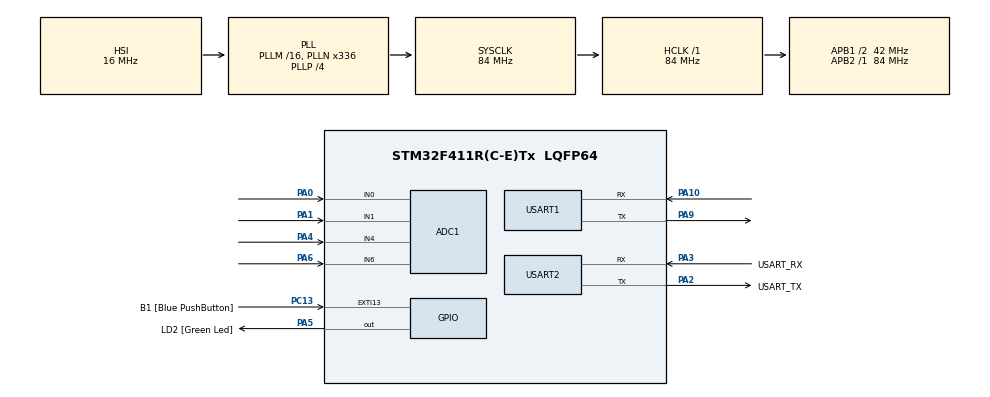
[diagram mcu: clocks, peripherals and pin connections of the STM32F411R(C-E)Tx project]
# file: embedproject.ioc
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ADC1.Channel-0\#ChannelRegularConversion=ADC_CHANNEL_0
ADC1.Channel-1\#ChannelRegularConversion=ADC_CHANNEL_1
ADC1.Channel-2\#ChannelRegularConversion=ADC_CHANNEL_4
ADC1.Channel-3\#ChannelRegularConversion=ADC_CHANNEL_6
ADC1.Channel-4\#ChannelInjectedConversion=ADC_CHANNEL_0
ADC1.InjNumberOfConversion=1
ADC1.InjectedOffset-4\#ChannelInjectedConversion=0
ADC1.InjectedRank-4\#ChannelInjectedConversion=1
ADC1.NbrOfConversion=4
ADC1.NbrOfConversionFlag=1
ADC1.Rank-0\#ChannelRegularConversion=1
ADC1.Rank-1\#ChannelRegularConversion=2
ADC1.Rank-2\#ChannelRegularConversion=3
ADC1.Rank-3\#ChannelRegularConversion=4
ADC1.SamplingTime-0\#ChannelRegularConversion=ADC_SAMPLETIME_3CYCLES
ADC1.SamplingTime-1\#ChannelRegularConversion=ADC_SAMPLETIME_3CYCLES
ADC1.SamplingTime-2\#ChannelRegularConversion=ADC_SAMPLETIME_3CYCLES
ADC1.SamplingTime-3\#ChannelRegularConversion=ADC_SAMPLETIME_3CYCLES
ADC1.SamplingTime-4\#ChannelInjectedConversion=ADC_SAMPLETIME_3CYCLES
ADC1.master=1
Dma.ADC1.0.Direction=DMA_PERIPH_TO_MEMORY
Dma.ADC1.0.FIFOMode=DMA_FIFOMODE_DISABLE
Dma.ADC1.0.Instance=DMA2_Stream0
Dma.ADC1.0.MemDataAlignment=DMA_MDATAALIGN_HALFWORD
Dma.ADC1.0.MemInc=DMA_MINC_ENABLE
Dma.ADC1.0.Mode=DMA_NORMAL
Dma.ADC1.0.PeriphDataAlignment=DMA_PDATAALIGN_HALFWORD
Dma.ADC1.0.PeriphInc=DMA_PINC_DISABLE
Dma.ADC1.0.Priority=DMA_PRIORITY_MEDIUM
Dma.Request0=ADC1
Mcu.Family=STM32F4
Mcu.Name=STM32F411R(C-E)Tx
Mcu.Package=LQFP64
NVIC.DMA2_Stream0_IRQn=true\:0\:0\:false\:false\:true\:false\:true\:true
NVIC.PriorityGroup=NVIC_PRIORITYGROUP_4
PA0-WKUP.Signal=ADCx_IN0
PA1.Signal=ADCx_IN1
PA10.Mode=Asynchronous
PA10.Signal=USART1_RX
PA13.GPIO_Label=TMS
PA13.Mode=Serial_Wire
PA13.Signal=SYS_JTMS-SWDIO
PA14.GPIO_Label=TCK
PA14.Mode=Serial_Wire
PA14.Signal=SYS_JTCK-SWCLK
PA2.GPIO_Label=USART_TX
PA2.Mode=Asynchronous
PA2.Signal=USART2_TX
PA3.GPIO_Label=USART_RX
PA3.Mode=Asynchronous
PA3.Signal=USART2_RX
PA4.Signal=ADCx_IN4
PA5.GPIO_Label=LD2 [Green Led]
PA5.Signal=GPIO_Output
PA6.Signal=ADCx_IN6
PA9.Mode=Asynchronous
PA9.Signal=USART1_TX
PB3.GPIO_Label=SWO
PB3.Signal=SYS_JTDO-SWO
PC13-ANTI_TAMP.GPIO_Label=B1 [Blue PushButton]
PC13-ANTI_TAMP.GPIO_ModeDefaultEXTI=GPIO_MODE_IT_FALLING
PC13-ANTI_TAMP.Signal=GPXTI13
PC14-OSC32_IN.Mode=LSE-External-Oscillator
PC14-OSC32_IN.Signal=RCC_OSC32_IN
PC15-OSC32_OUT.Mode=LSE-External-Oscillator
PC15-OSC32_OUT.Signal=RCC_OSC32_OUT
PH0\ -\ OSC_IN.Mode=HSE-External-Clock-Source
PH0\ -\ OSC_IN.Signal=RCC_OSC_IN
PH1\ -\ OSC_OUT.Mode=HSE-External-Clock-Source
PH1\ -\ OSC_OUT.Signal=RCC_OSC_OUT
ProjectManager.HeapSize=0x200
ProjectManager.StackSize=0x400
ProjectManager.TargetToolchain=STM32CubeIDE
RCC.48MHZClocksFreq_Value=84000000
RCC.AHBFreq_Value=84000000
RCC.APB1CLKDivider=RCC_HCLK_DIV2
RCC.APB1Freq_Value=42000000
RCC.APB1TimFreq_Value=84000000
RCC.APB2Freq_Value=84000000
RCC.APB2TimFreq_Value=84000000
RCC.CortexFreq_Value=84000000
RCC.FLatency-AdvancedSettings=FLASH_LATENCY_2
RCC.HCLKFreq_Value=84000000
RCC.HSE_VALUE=8000000
RCC.HSI_VALUE=16000000
RCC.PLLN=336
RCC.PLLP=RCC_PLLP_DIV4
RCC.SYSCLKFreq_VALUE=84000000
RCC.SYSCLKSource=RCC_SYSCLKSOURCE_PLLCLK
RCC.VCOOutputFreq_Value=336000000
SH.ADCx_IN0.0=ADC1_IN0,IN0
SH.ADCx_IN1.0=ADC1_IN1,IN1
SH.ADCx_IN4.0=ADC1_IN4,IN4
SH.ADCx_IN6.0=ADC1_IN6,IN6
USART1.VirtualMode=VM_ASYNC
USART2.VirtualMode=VM_ASYNC
board=NUCLEO-F411RE

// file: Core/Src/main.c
/* USER CODE BEGIN Header */
/**
  ******************************************************************************
  * @file           : main.c
  * @brief          : Main program body
  ******************************************************************************
  * @attention
  *
  * Copyright (c) 2024 STMicroelectronics.
  * All rights reserved.
  *
  * This software is licensed under terms that can be found in the LICENSE file
  * in the root directory of this software component.
  * If no LICENSE file comes with this software, it is provided AS-IS.
  *
  ******************************************************************************
  */
/* USER CODE END Header */
#include "main.h"

ADC_HandleTypeDef hadc1;
DMA_HandleTypeDef hdma_adc1;

UART_HandleTypeDef huart1;
UART_HandleTypeDef huart2;

/* USER CODE BEGIN PV */
volatile uint16_t resultDMA[4];
const int channelCount = sizeof(resultDMA) / sizeof(resultDMA[0]);
volatile int conversionComplete = 0;
/* USER CODE END PV */

void SystemClock_Config(void);
static void MX_GPIO_Init(void);
static void MX_DMA_Init(void);
static void MX_USART2_UART_Init(void);
static void MX_ADC1_Init(void);
static void MX_USART1_UART_Init(void);

/* USER CODE BEGIN 0 */
void send_to_nodeMCU(char buf[256]) {
	char acknowledge[1];

	int string_length = strlen(buf);
	for(int i = 0;i < string_length;i++) {
		// Transmit character by character
		HAL_UART_Transmit(&huart1, buf + i, 1, 1000);
		HAL_UART_Receive(&huart1, acknowledge ,1, 1000);

		char gg[256];
		sprintf(gg, "sent %d : %c\r\n", i, acknowledge[0]);
		HAL_UART_Transmit(&huart2, gg, strlen(gg), 1000);

		// Check the acknowledge for echo, If the receive if not the one sent, send again.
		if(acknowledge[0] != buf[i]) {
			--i;
		}
	}
}
/* USER CODE END 0 */

int main(void)
{

  /* MCU Configuration--------------------------------------------------------*/

  /* Reset of all peripherals, Initializes the Flash interface and the Systick. */
  HAL_Init();

  /* Configure the system clock */
  SystemClock_Config();

  /* Initialize all configured peripherals */
  MX_GPIO_Init();
  MX_DMA_Init();
  MX_USART2_UART_Init();
  MX_ADC1_Init();
  MX_USART1_UART_Init();
  /* USER CODE BEGIN 2 */
  char buf[256];
  double maxLight = 4000;
  double minLight = 0;
  double maxHumid = 1350;
  double minHumid = 0;
  double maxVibrate = 1000;
  double minVibrate = 0;
  int dutycycleLight = 0;
  int dutycycleHumid = 0;
  int dutycycleVibrate = 0;
  double cLight;
  double pLight = maxLight - minLight;
  double cHumid;
  double pHumid = maxHumid -  minHumid;
  double cVibrate;
  double pVibrate = maxVibrate - minVibrate;
  /* This is for callibration, report max/min
  int maxLightSensor = 0;
  int minLightSensor = 10000000;
  int maxHumidSensor = 0;
  int minHumidSensor = 10000000;
  */
  /* USER CODE END 2 */

  /* Infinite loop */
  /* USER CODE BEGIN WHILE */
  while (1)
  {
	  // Start DMA
	  HAL_ADC_Start_DMA(&hadc1, (uint32_t*) resultDMA, channelCount);
	  // Wait for sensor read ok.
	  while (conversionComplete == 0) {

	  }
	  // Convert value into %
	  conversionComplete = 0;
	  cLight = maxLight - resultDMA[0];
	  dutycycleLight = (1 - cLight/pLight)*100;
	  cHumid = maxHumid - resultDMA[1];
	  dutycycleHumid = (1 - cHumid/pHumid)*100;
	  cVibrate = maxVibrate - resultDMA[2];
	  dutycycleVibrate = (1 - cVibrate/pVibrate) * 100;
	  sprintf(buf, "light = %d %c,humid = %d %c, Vibration = %d \r\n" , dutycycleLight, '%',dutycycleHumid, '%', dutycycleVibrate);
	  HAL_UART_Transmit(&huart2, buf, strlen(buf), 1000);
	  // Transmit to nodemcu.
	  sprintf(buf,"%d %d %d\n",dutycycleLight,dutycycleHumid,dutycycleVibrate);
	  send_to_nodeMCU(buf);

	  HAL_Delay(2000);
    /* USER CODE END WHILE */

  }
}

void SystemClock_Config(void)
{
  RCC_OscInitTypeDef RCC_OscInitStruct = {0};
  RCC_ClkInitTypeDef RCC_ClkInitStruct = {0};

  /** Configure the main internal regulator output voltage
  */
  __HAL_RCC_PWR_CLK_ENABLE();
  __HAL_PWR_VOLTAGESCALING_CONFIG(PWR_REGULATOR_VOLTAGE_SCALE1);

  /** Initializes the RCC Oscillators according to the specified parameters
  * in the RCC_OscInitTypeDef structure.
  */
  RCC_OscInitStruct.OscillatorType = RCC_OSCILLATORTYPE_HSI;
  RCC_OscInitStruct.HSIState = RCC_HSI_ON;
  RCC_OscInitStruct.HSICalibrationValue = RCC_HSICALIBRATION_DEFAULT;
  RCC_OscInitStruct.PLL.PLLState = RCC_PLL_ON;
  RCC_OscInitStruct.PLL.PLLSource = RCC_PLLSOURCE_HSI;
  RCC_OscInitStruct.PLL.PLLM = 16;
  RCC_OscInitStruct.PLL.PLLN = 336;
  RCC_OscInitStruct.PLL.PLLP = RCC_PLLP_DIV4;
  RCC_OscInitStruct.PLL.PLLQ = 4;
  if (HAL_RCC_OscConfig(&RCC_OscInitStruct) != HAL_OK)
  {
    Error_Handler();
  }

  /** Initializes the CPU, AHB and APB buses clocks
  */
  RCC_ClkInitStruct.ClockType = RCC_CLOCKTYPE_HCLK|RCC_CLOCKTYPE_SYSCLK
                              |RCC_CLOCKTYPE_PCLK1|RCC_CLOCKTYPE_PCLK2;
  RCC_ClkInitStruct.SYSCLKSource = RCC_SYSCLKSOURCE_PLLCLK;
  RCC_ClkInitStruct.AHBCLKDivider = RCC_SYSCLK_DIV1;
  RCC_ClkInitStruct.APB1CLKDivider = RCC_HCLK_DIV2;
  RCC_ClkInitStruct.APB2CLKDivider = RCC_HCLK_DIV1;

  if (HAL_RCC_ClockConfig(&RCC_ClkInitStruct, FLASH_LATENCY_2) != HAL_OK)
  {
    Error_Handler();
  }
}

static void MX_ADC1_Init(void)
{

  ADC_ChannelConfTypeDef sConfig = {0};
  ADC_InjectionConfTypeDef sConfigInjected = {0};

  /** Configure the global features of the ADC (Clock, Resolution, Data Alignment and number of conversion)
  */
  hadc1.Instance = ADC1;
  hadc1.Init.ClockPrescaler = ADC_CLOCK_SYNC_PCLK_DIV4;
  hadc1.Init.Resolution = ADC_RESOLUTION_12B;
  hadc1.Init.ScanConvMode = ENABLE;
  hadc1.Init.ContinuousConvMode = DISABLE;
  hadc1.Init.DiscontinuousConvMode = DISABLE;
  hadc1.Init.ExternalTrigConvEdge = ADC_EXTERNALTRIGCONVEDGE_NONE;
  hadc1.Init.ExternalTrigConv = ADC_SOFTWARE_START;
  hadc1.Init.DataAlign = ADC_DATAALIGN_RIGHT;
  hadc1.Init.NbrOfConversion = 4;
  hadc1.Init.DMAContinuousRequests = DISABLE;
  hadc1.Init.EOCSelection = ADC_EOC_SINGLE_CONV;
  if (HAL_ADC_Init(&hadc1) != HAL_OK)
  {
    Error_Handler();
  }

  /** Configure for the selected ADC regular channel its corresponding rank in the sequencer and its sample time.
  */
  sConfig.Channel = ADC_CHANNEL_0;
  sConfig.Rank = 1;
  sConfig.SamplingTime = ADC_SAMPLETIME_3CYCLES;
  if (HAL_ADC_ConfigChannel(&hadc1, &sConfig) != HAL_OK)
  {
    Error_Handler();
  }

  /** Configure for the selected ADC regular channel its corresponding rank in the sequencer and its sample time.
  */
  sConfig.Channel = ADC_CHANNEL_1;
  sConfig.Rank = 2;
  if (HAL_ADC_ConfigChannel(&hadc1, &sConfig) != HAL_OK)
  {
    Error_Handler();
  }

  /** Configure for the selected ADC regular channel its corresponding rank in the sequencer and its sample time.
  */
  sConfig.Channel = ADC_CHANNEL_4;
  sConfig.Rank = 3;
  if (HAL_ADC_ConfigChannel(&hadc1, &sConfig) != HAL_OK)
  {
    Error_Handler();
  }

  /** Configure for the selected ADC regular channel its corresponding rank in the sequencer and its sample time.
  */
  sConfig.Channel = ADC_CHANNEL_6;
  sConfig.Rank = 4;
  if (HAL_ADC_ConfigChannel(&hadc1, &sConfig) != HAL_OK)
  {
    Error_Handler();
  }

  /** Configures for the selected ADC injected channel its corresponding rank in the sequencer and its sample time
  */
  sConfigInjected.InjectedChannel = ADC_CHANNEL_0;
  sConfigInjected.InjectedRank = 1;
  sConfigInjected.InjectedNbrOfConversion = 1;
  sConfigInjected.InjectedSamplingTime = ADC_SAMPLETIME_3CYCLES;
  sConfigInjected.ExternalTrigInjecConvEdge = ADC_EXTERNALTRIGINJECCONVEDGE_NONE;
  sConfigInjected.ExternalTrigInjecConv = ADC_INJECTED_SOFTWARE_START;
  sConfigInjected.AutoInjectedConv = DISABLE;
  sConfigInjected.InjectedDiscontinuousConvMode = DISABLE;
  sConfigInjected.InjectedOffset = 0;
  if (HAL_ADCEx_InjectedConfigChannel(&hadc1, &sConfigInjected) != HAL_OK)
  {
    Error_Handler();
  }

}

static void MX_USART1_UART_Init(void)
{

  huart1.Instance = USART1;
  huart1.Init.BaudRate = 115200;
  huart1.Init.WordLength = UART_WORDLENGTH_8B;
  huart1.Init.StopBits = UART_STOPBITS_1;
  huart1.Init.Parity = UART_PARITY_NONE;
  huart1.Init.Mode = UART_MODE_TX_RX;
  huart1.Init.HwFlowCtl = UART_HWCONTROL_NONE;
  huart1.Init.OverSampling = UART_OVERSAMPLING_16;
  if (HAL_UART_Init(&huart1) != HAL_OK)
  {
    Error_Handler();
  }

}

static void MX_USART2_UART_Init(void)
{

  huart2.Instance = USART2;
  huart2.Init.BaudRate = 115200;
  huart2.Init.WordLength = UART_WORDLENGTH_8B;
  huart2.Init.StopBits = UART_STOPBITS_1;
  huart2.Init.Parity = UART_PARITY_NONE;
  huart2.Init.Mode = UART_MODE_TX_RX;
  huart2.Init.HwFlowCtl = UART_HWCONTROL_NONE;
  huart2.Init.OverSampling = UART_OVERSAMPLING_16;
  if (HAL_UART_Init(&huart2) != HAL_OK)
  {
    Error_Handler();
  }

}

static void MX_DMA_Init(void)
{

  /* DMA controller clock enable */
  __HAL_RCC_DMA2_CLK_ENABLE();

  /* DMA interrupt init */
  /* DMA2_Stream0_IRQn interrupt configuration */
  HAL_NVIC_SetPriority(DMA2_Stream0_IRQn, 0, 0);
  HAL_NVIC_EnableIRQ(DMA2_Stream0_IRQn);

}

static void MX_GPIO_Init(void)
{
  GPIO_InitTypeDef GPIO_InitStruct = {0};

  /* GPIO Ports Clock Enable */
  __HAL_RCC_GPIOC_CLK_ENABLE();
  __HAL_RCC_GPIOH_CLK_ENABLE();
  __HAL_RCC_GPIOA_CLK_ENABLE();
  __HAL_RCC_GPIOB_CLK_ENABLE();

  /*Configure GPIO pin Output Level */
  HAL_GPIO_WritePin(LD2_GPIO_Port, LD2_Pin, GPIO_PIN_RESET);

  /*Configure GPIO pin : B1_Pin */
  GPIO_InitStruct.Pin = B1_Pin;
  GPIO_InitStruct.Mode = GPIO_MODE_IT_FALLING;
  GPIO_InitStruct.Pull = GPIO_NOPULL;
  HAL_GPIO_Init(B1_GPIO_Port, &GPIO_InitStruct);

  /*Configure GPIO pin : LD2_Pin */
  GPIO_InitStruct.Pin = LD2_Pin;
  GPIO_InitStruct.Mode = GPIO_MODE_OUTPUT_PP;
  GPIO_InitStruct.Pull = GPIO_NOPULL;
  GPIO_InitStruct.Speed = GPIO_SPEED_FREQ_LOW;
  HAL_GPIO_Init(LD2_GPIO_Port, &GPIO_InitStruct);

}

/* USER CODE BEGIN 4 */
void HAL_ADC_ConvCpltCallback(ADC_HandleTypeDef *hadc) {
	conversionComplete = 1;
}
/* USER CODE END 4 */

void Error_Handler(void)
{
  __disable_irq();
  while (1)
  {
  }
}
